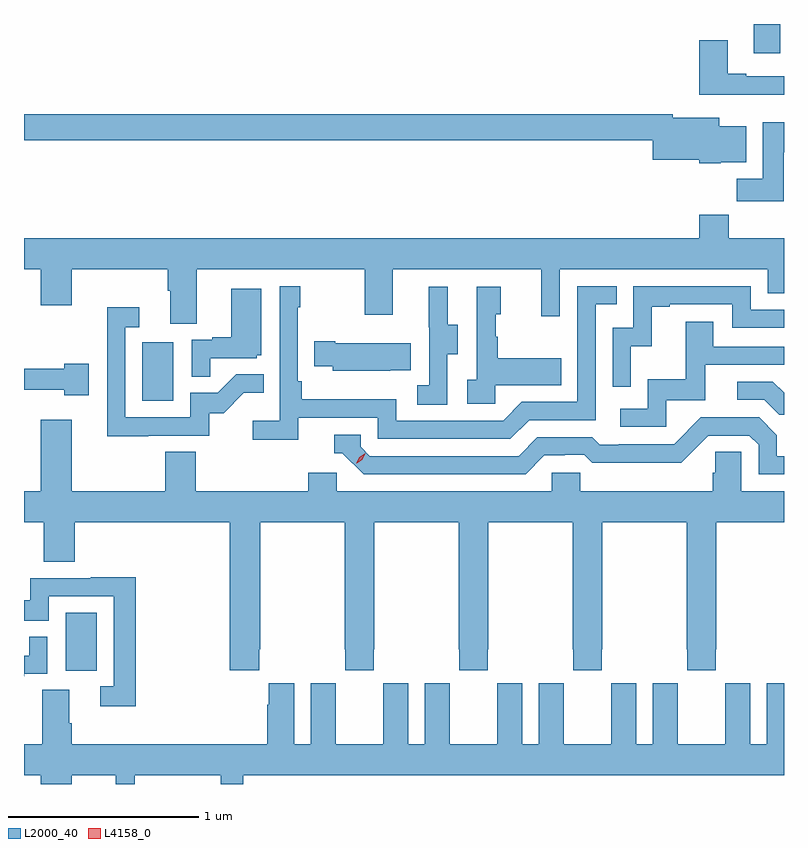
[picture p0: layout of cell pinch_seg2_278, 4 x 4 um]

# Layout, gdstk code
import gdstk
lib = gdstk.Library(unit=1e-6, precision=1e-09)
def R(c, l, rs):  # rectangles x0, y0, x1, y1
    for r in rs: c.add(gdstk.rectangle(r[:2], r[2:], *l))
def P(c, l, *ps):  # polygons
    for p in ps: c.add(gdstk.Polygon(p, *l))
L2000_40 = (2000, 40)
L4158_0 = (4158, 0)

pinch_seg2_278 = lib.new_cell('pinch_seg2_278')
R(pinch_seg2_278, L2000_40, [(932.372,630.87,932.536,631.177), (932.774,632.292,932.938,632.599), (935.993,634.122,936.133,634.275)])
P(pinch_seg2_278, L2000_40, [(936.152,633.999),(935.953,633.999),(935.953,634.012),(935.857,634.012),(935.857,634.189),(935.705,634.189),(935.705,633.902),(936.152,633.902)],
  [(935.82,633.548),(935.953,633.548),(935.953,633.736),(935.812,633.736),(935.812,633.781),(935.566,633.781),(935.566,633.8),(932.152,633.8),(932.152,633.664),(935.462,633.664),(935.462,633.56),(935.706,633.56),(935.706,633.542),(935.82,633.542)],
  [(936.151,633.601),(936.152,633.601),(936.152,633.757),(936.041,633.757),(936.041,633.46),(935.902,633.46),(935.902,633.342),(936.151,633.342)],
  [(933.061,632.984),(933.946,632.984),(933.946,632.745),(934.093,632.745),(934.093,632.984),(934.874,632.984),(934.874,632.736),(934.971,632.736),(934.971,632.984),(936.066,632.984),(936.066,632.857),(936.152,632.857),(936.152,633.148),(935.861,633.148),(935.861,633.272),(935.705,633.272),(935.705,633.148),(932.152,633.148),(932.152,632.984),(932.24,632.984),(932.24,632.796),(932.404,632.796),(932.404,632.984),(932.909,632.984),(932.909,632.872),(932.921,632.872),(932.921,632.698),(933.061,632.698)],
  [(933.596,632.202),(934.014,632.202),(934.014,632.091),(934.711,632.091),(934.81,632.19),(935.16,632.19),(935.16,632.799),(935.273,632.799),(935.273,632.895),(935.064,632.895),(935.064,632.286),(934.773,632.286),(934.674,632.187),(934.11,632.187),(934.11,632.299),(933.614,632.299),(933.614,632.395),(933.594,632.395),(933.594,632.783),(933.607,632.783),(933.607,632.896),(933.498,632.896),(933.498,632.188),(933.357,632.188),(933.357,632.086),(933.596,632.086)],
  [(935.346,632.579),(935.456,632.579),(935.456,632.787),(935.551,632.787),(935.551,632.799),(935.88,632.799),(935.88,632.676),(936.152,632.676),(936.152,632.772),(935.976,632.772),(935.976,632.895),(935.358,632.895),(935.358,632.676),(935.25,632.676),(935.25,632.367),(935.346,632.367)],
  [(934.38,632.536),(934.435,632.536),(934.435,632.691),(934.381,632.691),(934.381,632.893),(934.283,632.893),(934.283,632.679),(934.284,632.679),(934.284,632.375),(934.221,632.375),(934.221,632.272),(934.38,632.272)],
  [(934.632,632.375),(934.979,632.375),(934.979,632.515),(934.645,632.515),(934.645,632.63),(934.635,632.63),(934.635,632.748),(934.66,632.748),(934.66,632.893),(934.536,632.893),(934.536,632.402),(934.485,632.402),(934.485,632.277),(934.632,632.277)],
  [(933.131,632.517),(933.378,632.517),(933.378,632.532),(933.4,632.532),(933.4,632.881),(933.242,632.881),(933.242,632.626),(933.143,632.626),(933.143,632.613),(933.036,632.613),(933.036,632.419),(933.131,632.419)],
  [(932.807,632.109),(933.126,632.109),(933.126,632.226),(933.202,632.226),(933.309,632.333),(933.413,632.333),(933.413,632.432),(933.269,632.432),(933.171,632.334),(933.027,632.334),(933.027,632.205),(932.685,632.205),(932.685,632.679),(932.758,632.679),(932.758,632.785),(932.589,632.785),(932.589,632.104),(932.807,632.104)],
  [(935.532,632.295),(935.737,632.295),(935.737,632.481),(936.152,632.481),(936.152,632.577),(935.779,632.577),(935.779,632.707),(935.635,632.707),(935.635,632.404),(935.436,632.404),(935.436,632.25),(935.289,632.25),(935.289,632.154),(935.532,632.154)],
  [(934.079,632.453),(934.187,632.453),(934.187,632.596),(933.79,632.596),(933.79,632.604),(933.679,632.604),(933.679,632.474),(933.777,632.474),(933.777,632.45),(934.079,632.45)],
  [(932.494,632.487),(932.365,632.487),(932.365,632.461),(932.152,632.461),(932.152,632.351),(932.365,632.351),(932.365,632.321),(932.494,632.321)],
  [(936.152,632.333),(936.094,632.391),(935.907,632.391),(935.907,632.298),(936.048,632.298),(936.128,632.218),(936.152,632.218)],
  [(934.891,632.004),(934.998,632.004),(934.998,632.007),(935.101,632.007),(935.143,631.965),(935.376,631.965),(935.376,631.967),(935.612,631.967),(935.754,632.109),(935.97,632.109),(936.018,632.061),(936.018,631.905),(936.152,631.905),(936.152,632.001),(936.115,632.001),(936.115,632.111),(936.021,632.205),(935.715,632.205),(935.574,632.064),(935.281,632.064),(935.281,632.061),(935.182,632.061),(935.143,632.1),(934.854,632.1),(934.755,632.001),(933.972,632.001),(933.924,632.049),(933.924,632.112),(933.785,632.112),(933.785,632.016),(933.828,632.016),(933.939,631.905),(934.792,631.905)],
  [(933.389,630.985),(933.396,630.985),(933.396,631.652),(933.841,631.652),(933.841,630.985),(933.843,630.985),(933.843,630.873),(933.993,630.873),(933.993,630.985),(933.996,630.985),(933.996,631.652),(934.441,631.652),(934.441,630.985),(934.443,630.985),(934.443,630.873),(934.593,630.873),(934.593,630.985),(934.596,630.985),(934.596,631.652),(935.041,631.652),(935.041,630.985),(935.043,630.985),(935.043,630.873),(935.193,630.873),(935.193,630.985),(935.196,630.985),(935.196,631.652),(935.641,631.652),(935.641,630.985),(935.643,630.985),(935.643,630.873),(935.793,630.873),(935.793,630.985),(935.796,630.985),(935.796,631.652),(936.152,631.652),(936.152,631.816),(935.928,631.816),(935.928,632.024),(935.791,632.024),(935.791,631.914),(935.777,631.914),(935.777,631.816),(935.079,631.816),(935.079,631.914),(934.929,631.914),(934.929,631.816),(933.798,631.816),(933.798,631.914),(933.647,631.914),(933.647,631.816),(933.056,631.816),(933.056,632.024),(932.896,632.024),(932.896,631.816),(932.404,631.816),(932.404,632.191),(932.24,632.191),(932.24,631.816),(932.152,631.816),(932.152,631.652),(932.255,631.652),(932.255,631.444),(932.42,631.444),(932.42,631.652),(933.236,631.652),(933.236,630.873),(933.389,630.873)],
  [(932.741,631.364),(932.503,631.364),(932.503,631.359),(932.185,631.359),(932.185,631.242),(932.152,631.242),(932.152,631.134),(932.283,631.134),(932.283,631.263),(932.625,631.263),(932.625,630.789),(932.553,630.789),(932.553,630.684),(932.741,630.684)],
  [(932.153,630.855),(932.274,630.855),(932.274,631.049),(932.179,631.049),(932.179,630.951),(932.152,630.951),(932.152,630.843),(932.153,630.843)],
  [(936.152,630.805),(936.062,630.805),(936.062,630.484),(935.974,630.484),(935.974,630.805),(935.844,630.805),(935.844,630.692),(935.843,630.692),(935.843,630.484),(935.593,630.484),(935.593,630.692),(935.592,630.692),(935.592,630.805),(935.462,630.805),(935.462,630.484),(935.374,630.484),(935.374,630.805),(935.244,630.805),(935.244,630.692),(935.243,630.692),(935.243,630.484),(934.993,630.484),(934.993,630.692),(934.992,630.692),(934.992,630.805),(934.862,630.805),(934.862,630.484),(934.774,630.484),(934.774,630.805),(934.644,630.805),(934.644,630.692),(934.643,630.692),(934.643,630.484),(934.393,630.484),(934.393,630.692),(934.392,630.692),(934.392,630.805),(934.262,630.805),(934.262,630.484),(934.174,630.484),(934.174,630.805),(934.044,630.805),(934.044,630.692),(934.043,630.692),(934.043,630.484),(933.793,630.484),(933.793,630.692),(933.792,630.692),(933.792,630.805),(933.662,630.805),(933.662,630.484),(933.574,630.484),(933.574,630.805),(933.44,630.805),(933.44,630.692),(933.431,630.692),(933.431,630.484),(932.402,630.484),(932.402,630.596),(932.389,630.596),(932.389,630.77),(932.249,630.77),(932.249,630.484),(932.152,630.484),(932.152,630.32),(932.24,630.32),(932.24,630.275),(932.404,630.275),(932.404,630.32),(932.635,630.32),(932.635,630.275),(932.735,630.275),(932.735,630.32),(933.188,630.32),(933.188,630.275),(933.305,630.275),(933.305,630.32),(936.152,630.32)])
P(pinch_seg2_278, L4158_0, [(933.901,631.963),(933.901,631.963),(933.917,631.995),(933.947,632.015),(933.947,632.015),(933.947,632.015),(933.932,631.982),(933.902,631.963)])

lib.write_gds('pinch_seg2_278.gds')
